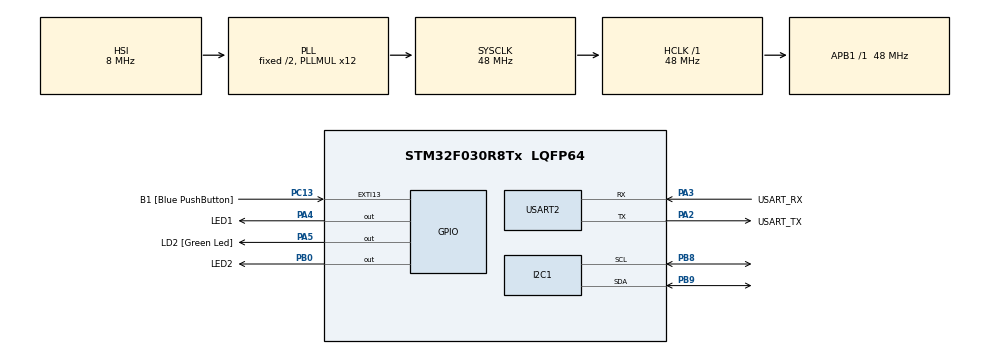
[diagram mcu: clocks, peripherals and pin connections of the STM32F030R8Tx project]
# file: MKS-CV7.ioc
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Dma.Request0=USART2_RX
Dma.USART2_RX.0.Direction=DMA_PERIPH_TO_MEMORY
Dma.USART2_RX.0.Instance=DMA1_Channel5
Dma.USART2_RX.0.MemDataAlignment=DMA_MDATAALIGN_BYTE
Dma.USART2_RX.0.MemInc=DMA_MINC_ENABLE
Dma.USART2_RX.0.Mode=DMA_CIRCULAR
Dma.USART2_RX.0.PeriphDataAlignment=DMA_PDATAALIGN_BYTE
Dma.USART2_RX.0.PeriphInc=DMA_PINC_DISABLE
Dma.USART2_RX.0.Priority=DMA_PRIORITY_LOW
FREERTOS.Queues01=xVisualQueue,16,uint16_t,0,Dynamic,NULL,NULL
FREERTOS.Tasks01=defaultTask,0,128,StartDefaultTask,Default,NULL,Dynamic,NULL,NULL;VisualTask,-3,128,StartVisualTask,Default,NULL,Dynamic,NULL,NULL;AcceleroTask,-3,128,StartAcceleroTask,Default,NULL,Dynamic,NULL,NULL
FREERTOS.configUSE_NEWLIB_REENTRANT=1
Mcu.Family=STM32F0
Mcu.Name=STM32F030R8Tx
Mcu.Package=LQFP64
NVIC.DMA1_Channel4_5_IRQn=true\:3\:0\:false\:false\:true\:true\:false\:true\:true
NVIC.TIM14_IRQn=true\:3\:0\:false\:false\:true\:false\:false\:true\:true
NVIC.TimeBase=TIM14_IRQn
NVIC.TimeBaseIP=TIM14
PA13.GPIO_Label=TMS
PA13.Mode=Serial_Wire
PA13.Signal=SYS_SWDIO
PA14.GPIO_Label=TCK
PA14.Mode=Serial_Wire
PA14.Signal=SYS_SWCLK
PA2.GPIO_Label=USART_TX
PA2.GPIO_Mode=GPIO_MODE_AF_PP
PA2.GPIO_PuPd=GPIO_NOPULL
PA2.GPIO_Speed=GPIO_SPEED_FREQ_LOW
PA2.Mode=Asynchronous
PA2.Signal=USART2_TX
PA3.GPIO_Label=USART_RX
PA3.GPIO_Mode=GPIO_MODE_AF_PP
PA3.GPIO_PuPd=GPIO_NOPULL
PA3.GPIO_Speed=GPIO_SPEED_FREQ_LOW
PA3.Mode=Asynchronous
PA3.Signal=USART2_RX
PA4.GPIO_Label=LED1
PA4.Signal=GPIO_Output
PA5.GPIO_Label=LD2 [Green Led]
PA5.GPIO_Mode=GPIO_MODE_OUTPUT_PP
PA5.GPIO_PuPd=GPIO_NOPULL
PA5.GPIO_Speed=GPIO_SPEED_FREQ_LOW
PA5.Signal=GPIO_Output
PB0.GPIO_Label=LED2
PB0.Signal=GPIO_Output
PB8.Mode=I2C
PB8.Signal=I2C1_SCL
PB9.Mode=I2C
PB9.Signal=I2C1_SDA
PC13.GPIO_Label=B1 [Blue PushButton]
PC13.GPIO_ModeDefaultEXTI=GPIO_MODE_IT_FALLING
PC13.Signal=GPXTI13
PC14-OSC32_IN.Mode=LSE-External-Oscillator
PC14-OSC32_IN.Signal=RCC_OSC32_IN
PC15-OSC32_OUT.Mode=LSE-External-Oscillator
PC15-OSC32_OUT.Signal=RCC_OSC32_OUT
PF0-OSC_IN.Mode=HSE-External-Clock-Source
PF0-OSC_IN.Signal=RCC_OSC_IN
PF1-OSC_OUT.Signal=RCC_OSC_OUT
ProjectManager.HeapSize=0x200
ProjectManager.StackSize=0x400
ProjectManager.TargetToolchain=STM32CubeIDE
RCC.AHBFreq_Value=48000000
RCC.APB1Freq_Value=48000000
RCC.APB1TimFreq_Value=48000000
RCC.HCLKFreq_Value=48000000
RCC.PLLMUL=RCC_PLL_MUL12
RCC.SYSCLKFreq_VALUE=48000000
RCC.SYSCLKSource=RCC_SYSCLKSOURCE_PLLCLK
USART2.VirtualMode-Asynchronous=VM_ASYNC
VP_FREERTOS_VS_CMSIS_V1.Mode=CMSIS_V1
VP_SYS_VS_tim14.Mode=TIM14
board=NUCLEO-F030R8

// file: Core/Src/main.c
/* USER CODE BEGIN Header */
/**
  ******************************************************************************
  * @file           : main.c
  * @brief          : Main program body
  ******************************************************************************
  * @attention
  *
  * Copyright (c) 2023 STMicroelectronics.
  * All rights reserved.
  *
  * This software is licensed under terms that can be found in the LICENSE file
  * in the root directory of this software component.
  * If no LICENSE file comes with this software, it is provided AS-IS.
  *
  ******************************************************************************
  */
/* USER CODE END Header */
#include "main.h"
#include "cmsis_os.h"

/* USER CODE BEGIN Includes */
#include "lis2dw12_reg.h"
#include <stdio.h>
/* USER CODE END Includes */

I2C_HandleTypeDef hi2c1;

UART_HandleTypeDef huart2;
DMA_HandleTypeDef hdma_usart2_rx;

osThreadId defaultTaskHandle;
osThreadId VisualTaskHandle;
osThreadId AcceleroTaskHandle;
osMessageQId xVisualQueueHandle;

void SystemClock_Config(void);
static void MX_GPIO_Init(void);
static void MX_DMA_Init(void);
static void MX_USART2_UART_Init(void);
static void MX_I2C1_Init(void);
void StartDefaultTask(void const * argument);
void StartVisualTask(void const * argument);
void StartAcceleroTask(void const * argument);

int main(void)
{

  /* MCU Configuration--------------------------------------------------------*/

  /* Reset of all peripherals, Initializes the Flash interface and the Systick. */
  HAL_Init();

  /* Configure the system clock */
  SystemClock_Config();

  /* Initialize all configured peripherals */
  MX_GPIO_Init();
  MX_DMA_Init();
  MX_USART2_UART_Init();
  MX_I2C1_Init();

  /* Create the queue(s) */
  /* definition and creation of xVisualQueue */
  osMessageQDef(xVisualQueue, 16, uint16_t);
  xVisualQueueHandle = osMessageCreate(osMessageQ(xVisualQueue), NULL);

  /* Create the thread(s) */
  /* definition and creation of defaultTask */
  osThreadDef(defaultTask, StartDefaultTask, osPriorityNormal, 0, 128);
  defaultTaskHandle = osThreadCreate(osThread(defaultTask), NULL);

  /* definition and creation of VisualTask */
  osThreadDef(VisualTask, StartVisualTask, osPriorityIdle, 0, 128);
  VisualTaskHandle = osThreadCreate(osThread(VisualTask), NULL);

  /* definition and creation of AcceleroTask */
  osThreadDef(AcceleroTask, StartAcceleroTask, osPriorityIdle, 0, 128);
  AcceleroTaskHandle = osThreadCreate(osThread(AcceleroTask), NULL);

  /* Start scheduler */
  osKernelStart();

  /* We should never get here as control is now taken by the scheduler */
  /* Infinite loop */
  while (1)
  {

  }
}

void SystemClock_Config(void)
{
  RCC_OscInitTypeDef RCC_OscInitStruct = {0};
  RCC_ClkInitTypeDef RCC_ClkInitStruct = {0};
  RCC_PeriphCLKInitTypeDef PeriphClkInit = {0};

  /** Initializes the RCC Oscillators according to the specified parameters
  * in the RCC_OscInitTypeDef structure.
  */
  RCC_OscInitStruct.OscillatorType = RCC_OSCILLATORTYPE_HSI;
  RCC_OscInitStruct.HSIState = RCC_HSI_ON;
  RCC_OscInitStruct.HSICalibrationValue = RCC_HSICALIBRATION_DEFAULT;
  RCC_OscInitStruct.PLL.PLLState = RCC_PLL_ON;
  RCC_OscInitStruct.PLL.PLLSource = RCC_PLLSOURCE_HSI;
  RCC_OscInitStruct.PLL.PLLMUL = RCC_PLL_MUL12;
  RCC_OscInitStruct.PLL.PREDIV = RCC_PREDIV_DIV1;
  if (HAL_RCC_OscConfig(&RCC_OscInitStruct) != HAL_OK)
  {
    Error_Handler();
  }

  /** Initializes the CPU, AHB and APB buses clocks
  */
  RCC_ClkInitStruct.ClockType = RCC_CLOCKTYPE_HCLK|RCC_CLOCKTYPE_SYSCLK
                              |RCC_CLOCKTYPE_PCLK1;
  RCC_ClkInitStruct.SYSCLKSource = RCC_SYSCLKSOURCE_PLLCLK;
  RCC_ClkInitStruct.AHBCLKDivider = RCC_SYSCLK_DIV1;
  RCC_ClkInitStruct.APB1CLKDivider = RCC_HCLK_DIV1;

  if (HAL_RCC_ClockConfig(&RCC_ClkInitStruct, FLASH_LATENCY_1) != HAL_OK)
  {
    Error_Handler();
  }
  PeriphClkInit.PeriphClockSelection = RCC_PERIPHCLK_I2C1;
  PeriphClkInit.I2c1ClockSelection = RCC_I2C1CLKSOURCE_HSI;
  if (HAL_RCCEx_PeriphCLKConfig(&PeriphClkInit) != HAL_OK)
  {
    Error_Handler();
  }
}

static void MX_I2C1_Init(void)
{

  hi2c1.Instance = I2C1;
  hi2c1.Init.Timing = 0x2000090E;
  hi2c1.Init.OwnAddress1 = 0;
  hi2c1.Init.AddressingMode = I2C_ADDRESSINGMODE_7BIT;
  hi2c1.Init.DualAddressMode = I2C_DUALADDRESS_DISABLE;
  hi2c1.Init.OwnAddress2 = 0;
  hi2c1.Init.OwnAddress2Masks = I2C_OA2_NOMASK;
  hi2c1.Init.GeneralCallMode = I2C_GENERALCALL_DISABLE;
  hi2c1.Init.NoStretchMode = I2C_NOSTRETCH_DISABLE;
  if (HAL_I2C_Init(&hi2c1) != HAL_OK)
  {
    Error_Handler();
  }

  /** Configure Analogue filter
  */
  if (HAL_I2CEx_ConfigAnalogFilter(&hi2c1, I2C_ANALOGFILTER_ENABLE) != HAL_OK)
  {
    Error_Handler();
  }

  /** Configure Digital filter
  */
  if (HAL_I2CEx_ConfigDigitalFilter(&hi2c1, 0) != HAL_OK)
  {
    Error_Handler();
  }

}

static void MX_USART2_UART_Init(void)
{

  huart2.Instance = USART2;
  huart2.Init.BaudRate = 38400;
  huart2.Init.WordLength = UART_WORDLENGTH_8B;
  huart2.Init.StopBits = UART_STOPBITS_1;
  huart2.Init.Parity = UART_PARITY_NONE;
  huart2.Init.Mode = UART_MODE_TX_RX;
  huart2.Init.HwFlowCtl = UART_HWCONTROL_NONE;
  huart2.Init.OverSampling = UART_OVERSAMPLING_16;
  huart2.Init.OneBitSampling = UART_ONE_BIT_SAMPLE_DISABLE;
  huart2.AdvancedInit.AdvFeatureInit = UART_ADVFEATURE_NO_INIT;
  if (HAL_UART_Init(&huart2) != HAL_OK)
  {
    Error_Handler();
  }

}

static void MX_DMA_Init(void)
{

  /* DMA controller clock enable */
  __HAL_RCC_DMA1_CLK_ENABLE();

  /* DMA interrupt init */
  /* DMA1_Channel4_5_IRQn interrupt configuration */
  HAL_NVIC_SetPriority(DMA1_Channel4_5_IRQn, 3, 0);
  HAL_NVIC_EnableIRQ(DMA1_Channel4_5_IRQn);

}

static void MX_GPIO_Init(void)
{
  GPIO_InitTypeDef GPIO_InitStruct = {0};

  /* GPIO Ports Clock Enable */
  __HAL_RCC_GPIOC_CLK_ENABLE();
  __HAL_RCC_GPIOF_CLK_ENABLE();
  __HAL_RCC_GPIOA_CLK_ENABLE();
  __HAL_RCC_GPIOB_CLK_ENABLE();

  /*Configure GPIO pin Output Level */
  HAL_GPIO_WritePin(GPIOA, LED1_Pin|LD2_Pin, GPIO_PIN_RESET);

  /*Configure GPIO pin Output Level */
  HAL_GPIO_WritePin(LED2_GPIO_Port, LED2_Pin, GPIO_PIN_RESET);

  /*Configure GPIO pin : B1_Pin */
  GPIO_InitStruct.Pin = B1_Pin;
  GPIO_InitStruct.Mode = GPIO_MODE_IT_FALLING;
  GPIO_InitStruct.Pull = GPIO_NOPULL;
  HAL_GPIO_Init(B1_GPIO_Port, &GPIO_InitStruct);

  /*Configure GPIO pins : LED1_Pin LD2_Pin */
  GPIO_InitStruct.Pin = LED1_Pin|LD2_Pin;
  GPIO_InitStruct.Mode = GPIO_MODE_OUTPUT_PP;
  GPIO_InitStruct.Pull = GPIO_NOPULL;
  GPIO_InitStruct.Speed = GPIO_SPEED_FREQ_LOW;
  HAL_GPIO_Init(GPIOA, &GPIO_InitStruct);

  /*Configure GPIO pin : LED2_Pin */
  GPIO_InitStruct.Pin = LED2_Pin;
  GPIO_InitStruct.Mode = GPIO_MODE_OUTPUT_PP;
  GPIO_InitStruct.Pull = GPIO_NOPULL;
  GPIO_InitStruct.Speed = GPIO_SPEED_FREQ_LOW;
  HAL_GPIO_Init(LED2_GPIO_Port, &GPIO_InitStruct);

}

/* USER CODE BEGIN 4 */
static int32_t platform_write(void *handle, uint8_t reg, uint8_t *bufp, uint16_t len);
static int32_t platform_read(void *handle, uint8_t reg, uint8_t *bufp, uint16_t len);
static stmdev_ctx_t lis2dw12 = {
	.write_reg = platform_write,
	.read_reg = platform_read,
	.handle = &hi2c1,
};

static int32_t platform_write(void *handle, uint8_t reg, uint8_t *bufp, uint16_t len)
{
	HAL_I2C_Mem_Write(handle, LIS2DW12_I2C_ADD_H, reg, I2C_MEMADD_SIZE_8BIT, bufp, len, 1000);
	return 0;
}
static int32_t platform_read(void *handle, uint8_t reg, uint8_t *bufp, uint16_t len)
{
	HAL_I2C_Mem_Read(handle, LIS2DW12_I2C_ADD_H, reg, I2C_MEMADD_SIZE_8BIT, bufp, len, 1000);
	return 0;
}

int _write(int file, char const *buf, int n)
{
	/* stdout redirection to UART2 */
	HAL_UART_Transmit(&huart2, (uint8_t*)(buf), n, HAL_MAX_DELAY);
	return n;
}

/* USER CODE END 4 */

void StartDefaultTask(void const * argument)
{
  /* USER CODE BEGIN 5 */
	//int16_t msg;
  /* Infinite loop */
  for(;;)
  {
	  /*
	 msg = -5000;
	 xQueueSend(xVisualQueueHandle, &msg, 0);
	 osDelay(300);
	 msg = 0;
	 xQueueSend(xVisualQueueHandle, &msg, 0);
	 osDelay(300);
	 msg = +5000;
	 xQueueSend(xVisualQueueHandle, &msg, 0);
	 osDelay(300);
	 msg = 0;
	 xQueueSend(xVisualQueueHandle, &msg, 0);
	 osDelay(300);
	 */
	 osDelay(10);
  }
  /* USER CODE END 5 */
}

void StartVisualTask(void const * argument)
{
  /* USER CODE BEGIN StartVisualTask */
	uint16_t raw_acceleration;

  /* Infinite loop */
  for(;;)
  {
	 if (xQueueReceive(xVisualQueueHandle, &raw_acceleration, portMAX_DELAY))
	 {
		 if((int16_t)raw_acceleration <= -5000)
	  	 {
			 HAL_GPIO_WritePin(LED1_GPIO_Port,LED1_Pin, 1);
	  	 }
	  	 else
	  	 {
	  		 HAL_GPIO_WritePin(LED1_GPIO_Port,LED1_Pin, 0);
	  	 }
	  	 if((int16_t)raw_acceleration >= +5000)
	  	 {
	  		 HAL_GPIO_WritePin(LED2_GPIO_Port,LED2_Pin, 1);
	  	 }
	  	 else
	  	 {
	  		 HAL_GPIO_WritePin(LED2_GPIO_Port,LED2_Pin, 0);
	  	 }
	}
    osDelay(50);
  }
  /* USER CODE END StartVisualTask */
}

void StartAcceleroTask(void const * argument)
{
  /* USER CODE BEGIN StartAcceleroTask */
	uint8_t samples;
	int16_t raw_acceleration[3];
	uint8_t wait = 0;

	uint8_t whoamI = 0;

	lis2dw12_full_scale_set(&lis2dw12, LIS2DW12_2g);
	lis2dw12_power_mode_set(&lis2dw12, LIS2DW12_CONT_LOW_PWR_LOW_NOISE_2);
	lis2dw12_block_data_update_set(&lis2dw12, PROPERTY_ENABLE);
	lis2dw12_fifo_mode_set(&lis2dw12, LIS2DW12_STREAM_MODE); // enable continuous FIFO
	lis2dw12_data_rate_set(&lis2dw12, LIS2DW12_XL_ODR_25Hz); // enable part from power-down

	lis2dw12_device_id_get(&lis2dw12, &whoamI);
	printf("LIS2DW12_ID %s\n", (whoamI == LIS2DW12_ID) ? "OK" : "FAIL");

  /* Infinite loop */
	for(;;)
	{
		lis2dw12_fifo_data_level_get(&lis2dw12, &samples);
		for (uint8_t i = 0; i < samples; i++) {
			// Read acceleration data
			lis2dw12_acceleration_raw_get(&lis2dw12, raw_acceleration);
		}
		if(wait == 20)
		{
			wait = 0;

			printf("X=%d Y=%d Z=%d\n", raw_acceleration[0], raw_acceleration[1], raw_acceleration[2]);
		}
		else
		{
			wait++;
		}
		xQueueSend(xVisualQueueHandle, &raw_acceleration[0], 0);
		osDelay(50);

	}
  /* USER CODE END StartAcceleroTask */
}

void HAL_TIM_PeriodElapsedCallback(TIM_HandleTypeDef *htim)
{
  if (htim->Instance == TIM14) {
    HAL_IncTick();
  }
}

void Error_Handler(void)
{
  __disable_irq();
  while (1)
  {
  }
}
